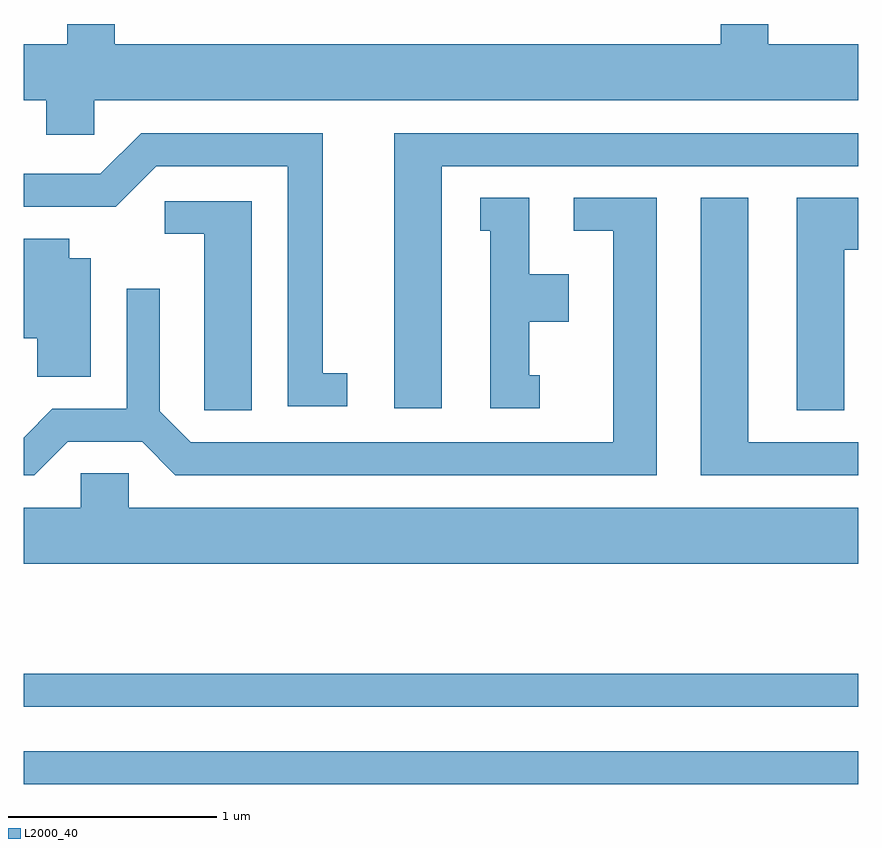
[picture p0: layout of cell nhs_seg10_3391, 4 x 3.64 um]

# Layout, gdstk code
import gdstk
lib = gdstk.Library(unit=1e-6, precision=1e-09)
def R(c, l, rs):  # rectangles x0, y0, x1, y1
    for r in rs: c.add(gdstk.rectangle(r[:2], r[2:], *l))
def P(c, l, *ps):  # polygons
    for p in ps: c.add(gdstk.Polygon(p, *l))
L2000_40 = (2000, 40)

nhs_seg10_3391 = lib.new_cell('nhs_seg10_3391')
R(nhs_seg10_3391, L2000_40, [(285.611,2092.881,289.611,2093.039), (285.611,2093.251,289.611,2093.409)])
P(nhs_seg10_3391, L2000_40, [(289.611,2096.424),(289.179,2096.424),(289.179,2096.522),(288.951,2096.522),(288.951,2096.424),(286.049,2096.424),(286.049,2096.522),(285.821,2096.522),(285.821,2096.424),(285.611,2096.424),(285.611,2096.156),(285.721,2096.156),(285.721,2095.991),(285.949,2095.991),(285.949,2096.156),(289.611,2096.156)],
  [(287.614,2095.841),(289.611,2095.841),(289.611,2095.999),(287.386,2095.999),(287.386,2094.681),(287.614,2094.681)],
  [(287.163,2094.849),(287.044,2094.849),(287.044,2095.999),(286.174,2095.999),(285.979,2095.804),(285.611,2095.804),(285.611,2095.646),(286.052,2095.646),(286.247,2095.841),(286.876,2095.841),(286.876,2094.691),(287.163,2094.691)],
  [(288.083,2094.839),(288.034,2094.839),(288.034,2095.096),(288.224,2095.096),(288.224,2095.324),(288.034,2095.324),(288.034,2095.689),(287.798,2095.689),(287.798,2095.531),(287.846,2095.531),(287.846,2094.681),(288.083,2094.681)],
  [(285.822,2094.521),(286.179,2094.521),(286.339,2094.361),(288.644,2094.361),(288.644,2095.689),(288.248,2095.689),(288.248,2095.531),(288.436,2095.531),(288.436,2094.519),(286.412,2094.519),(286.264,2094.667),(286.264,2095.253),(286.106,2095.253),(286.106,2094.679),(285.749,2094.679),(285.611,2094.541),(285.611,2094.361),(285.662,2094.361)],
  [(289.611,2094.519),(289.084,2094.519),(289.084,2095.689),(288.856,2095.689),(288.856,2094.361),(289.611,2094.361)],
  [(289.544,2095.441),(289.611,2095.441),(289.611,2095.689),(289.316,2095.689),(289.316,2094.671),(289.544,2094.671)],
  [(286.704,2095.674),(286.288,2095.674),(286.288,2095.516),(286.476,2095.516),(286.476,2094.671),(286.704,2094.671)],
  [(285.934,2095.399),(285.829,2095.399),(285.829,2095.494),(285.611,2095.494),(285.611,2095.016),(285.676,2095.016),(285.676,2094.831),(285.934,2094.831)],
  [(289.611,2094.204),(286.114,2094.204),(286.114,2094.369),(285.886,2094.369),(285.886,2094.204),(285.611,2094.204),(285.611,2093.936),(289.611,2093.936)])

lib.write_gds('nhs_seg10_3391.gds')
